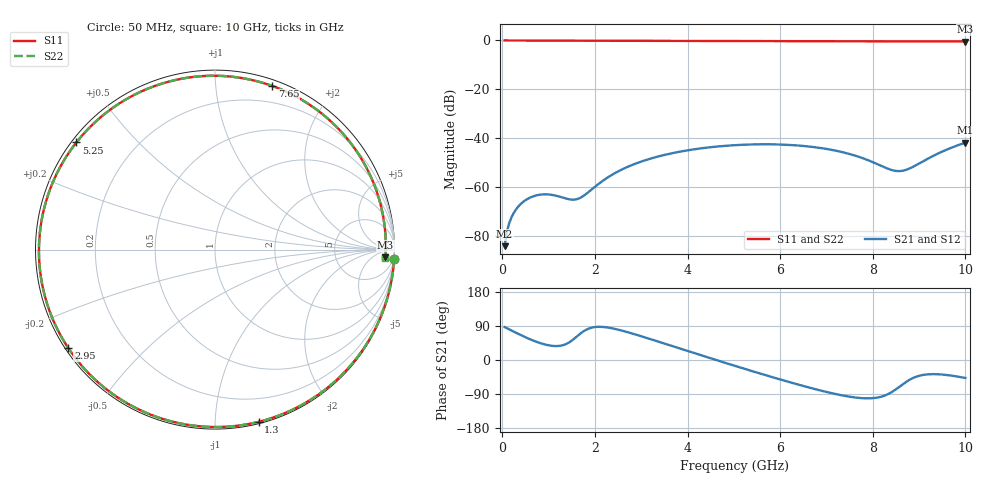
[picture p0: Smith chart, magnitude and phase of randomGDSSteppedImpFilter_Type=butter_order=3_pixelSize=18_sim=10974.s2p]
! freq	dB(S11)	phase(S11)	dB(S12)	phase(S12)
!  dB(S21)	phase(S21)	dB(S22)	phase(S22)
!S-par simulation data
#  GHz  S  DB  R 50
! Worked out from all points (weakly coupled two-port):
!   200 points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, 50 MHz to 10 GHz, reference 50 ohm
!   highest |S21| = -41.83 dB at 10 GHz (marker M1); lowest = -84.2 dB at 50 MHz (marker M2)
!   lowest |S11| = -0.4 dB at 10 GHz (marker M3), VSWR 39.23, Z = 1.09e+03 - j974 ohm
!   |S11| at or under -10 dB: nowhere
!   |S22| runs from -0.4 to 0.0 dB; largest |S21 - S12| = 0
!   S11 on the Smith chart (normalised r, x): 50 MHz: 0, -36; 1.3 GHz: 0.01, -1.28; 2.95 GHz: 0.01, -0.30; 5.25 GHz: 0.01, +0.34; 7.65 GHz: 0.05, +1.41; 10 GHz: 22, -19
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0.05  -0.00 -3.2  -84.22 86.9  -84.22 86.9  -0.00 -3.2
0.25  -0.02 -15.6  -70.53 74.7  -70.53 74.7  -0.02 -15.6
0.5  -0.04 -30.8  -65.42 60.1  -65.42 60.1  -0.04 -30.8
0.85  -0.06 -51.4  -63.07 43.4  -63.07 43.4  -0.06 -51.3
1.3  -0.09 -75.8  -64.29 38.8  -64.29 38.8  -0.09 -75.8
1.55  -0.10 -88.3  -65.18 55.9  -65.18 55.9  -0.10 -88.3
1.75  -0.10 -97.8  -63.67 75.4  -63.67 75.4  -0.10 -97.8
2.35  -0.12 -123.6  -55.22 84.2  -55.22 84.2  -0.12 -123.5
2.95  -0.14 -146.1  -49.92 64.6  -49.92 64.6  -0.14 -146.1
3.4  -0.15 -161.4  -47.34 47.2  -47.34 47.2  -0.15 -161.5
4.2  -0.18 173.3  -44.41 16.0  -44.41 16.0  -0.17 173.3
5.05  -0.20 148.1  -42.84 -16.5  -42.84 -16.5  -0.20 148.0
5.25  -0.21 142.3  -42.66 -24.0  -42.66 -24.0  -0.21 142.2
6  -0.24 120.4  -42.61 -51.3  -42.61 -51.3  -0.24 120.2
6.7  -0.27 99.6  -43.59 -75.1  -43.59 -75.1  -0.27 99.4
7.2  -0.28 84.5  -45.12 -89.9  -45.12 -89.9  -0.28 84.3
7.65  -0.30 70.7  -47.34 -99.4  -47.34 -99.4  -0.30 70.4
8.35  -0.33 48.8  -52.67 -88.8  -52.67 -88.8  -0.33 48.6
8.55  -0.34 42.5  -53.49 -72.9  -53.49 -72.9  -0.34 42.3
8.75  -0.35 36.2  -52.77 -55.5  -52.77 -55.5  -0.35 35.9
9.4  -0.39 15.9  -46.38 -37.6  -46.38 -37.6  -0.39 15.5
10  -0.44 -2.6  -41.83 -47.4  -41.83 -47.4  -0.44 -3.0
